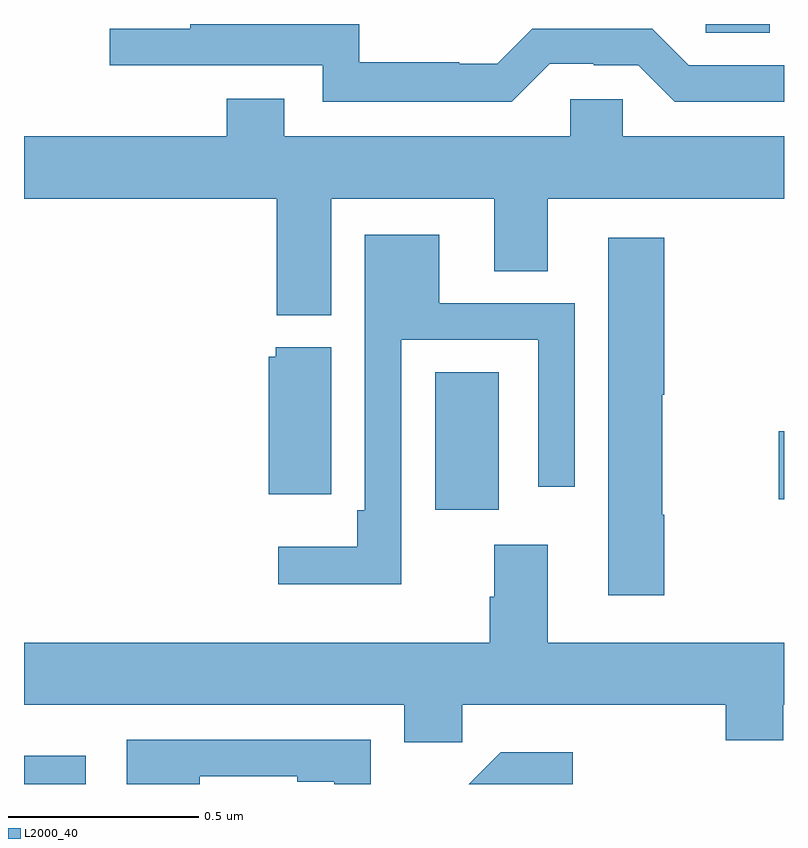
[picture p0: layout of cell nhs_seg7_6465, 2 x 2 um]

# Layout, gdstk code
import gdstk
lib = gdstk.Library(unit=1e-6, precision=1e-09)
def R(c, l, rs):  # rectangles x0, y0, x1, y1
    for r in rs: c.add(gdstk.rectangle(r[:2], r[2:], *l))
def P(c, l, *ps):  # polygons
    for p in ps: c.add(gdstk.Polygon(p, *l))
L2000_40 = (2000, 40)

nhs_seg7_6465 = lib.new_cell('nhs_seg7_6465')
R(nhs_seg7_6465, L2000_40, [(198,1075,198.163,1075.075), (199.082,1075.722,199.249,1076.084), (199.986,1075.75,200,1075.928), (199.794,1076.977,199.962,1077)])
P(nhs_seg7_6465, L2000_40, [(199.383,1076.895),(199.499,1076.895),(199.499,1076.892),(199.617,1076.892),(199.713,1076.796),(200,1076.796),(200,1076.892),(199.749,1076.892),(199.653,1076.988),(199.338,1076.988),(199.245,1076.895),(199.145,1076.895),(199.145,1076.899),(198.882,1076.899),(198.882,1077),(198.438,1077),(198.438,1076.988),(198.225,1076.988),(198.225,1076.892),(198.786,1076.892),(198.786,1076.795),(199.283,1076.795)],
  [(198.808,1076.54),(199.238,1076.54),(199.238,1076.35),(199.378,1076.35),(199.378,1076.54),(200,1076.54),(200,1076.704),(199.575,1076.704),(199.575,1076.802),(199.437,1076.802),(199.437,1076.704),(198.685,1076.704),(198.685,1076.803),(198.533,1076.803),(198.533,1076.704),(198,1076.704),(198,1076.54),(198.665,1076.54),(198.665,1076.234),(198.808,1076.234)],
  [(198.993,1076.169),(199.353,1076.169),(199.353,1075.782),(199.449,1075.782),(199.449,1076.265),(199.093,1076.265),(199.093,1076.446),(198.897,1076.446),(198.897,1075.72),(198.877,1075.72),(198.877,1075.624),(198.669,1075.624),(198.669,1075.526),(198.993,1075.526)],
  [(199.685,1075.709),(199.68,1075.709),(199.68,1076.024),(199.685,1076.024),(199.685,1076.437),(199.538,1076.437),(199.538,1075.497),(199.685,1075.497)],
  [(198.808,1076.149),(198.663,1076.149),(198.663,1076.124),(198.644,1076.124),(198.644,1075.763),(198.808,1075.763)],
  [(199.153,1075.208),(199.847,1075.208),(199.847,1075.115),(199.998,1075.115),(199.998,1075.208),(200,1075.208),(200,1075.372),(199.378,1075.372),(199.378,1075.63),(199.238,1075.63),(199.238,1075.493),(199.226,1075.493),(199.226,1075.372),(198,1075.372),(198,1075.208),(199.001,1075.208),(199.001,1075.11),(199.153,1075.11)],
  [(198.463,1075.02),(198.719,1075.02),(198.719,1075.006),(198.816,1075.006),(198.816,1075),(198.912,1075),(198.912,1075.116),(198.27,1075.116),(198.27,1075),(198.463,1075)],
  [(199.444,1075.083),(199.254,1075.083),(199.171,1075),(199.444,1075)])

lib.write_gds('nhs_seg7_6465.gds')
